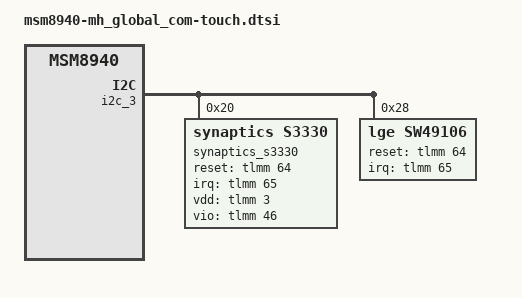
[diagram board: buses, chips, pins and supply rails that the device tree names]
/*
 * Copyright (c) 2016, The Linux Foundation. All rights reserved.
 *
 * This program is free software; you can redistribute it and/or modify
 * it under the terms of the GNU General Public License version 2 and
 * only version 2 as published by the Free Software Foundation.
 *
 * This program is distributed in the hope that it will be useful,
 * but WITHOUT ANY WARRANTY; without even the implied warranty of
 * MERCHANTABILITY or FITNESS FOR A PARTICULAR PURPOSE.  See the
 * GNU General Public License for more details.
 */
&i2c_3 { /* BLSP1 QUP3 */

	status = "okay";
	qcom,clk-freq-out = <400000>;

	synaptics_s3330@20 {
		compatible = "synaptics,s3330";
		status = "ok";

		reg = <0x20>;
		interrupt-parent = <&tlmm>;
		interrupts = <65 0x2008>;

		pinctrl-names = "touch_pin_active","touch_pin_sleep";	/*Touch GPIO pin name setting*/
		pinctrl-0 = <&ts_int_active &ts_reset_active>;		/*Touch GPIO pin active setting*/
		pinctrl-1 = <&ts_int_suspend &ts_reset_suspend>;	/*Touch GPIO pin suspend setting*/

		reset-gpio = <&tlmm 64 0x0>;
		irq-gpio = <&tlmm 65 0x2008>;
		vdd-gpio = <&tlmm 3 0x0>;
		vio-gpio = <&tlmm 46 0x0>;

		irqflags = <0x2002>;

		hw_reset_delay = <80>;
		use_lpwg = <1>;
		hide_coordinate = <1>;

		/*Caps*/
		max_x = <1080>;
		max_y = <1920>;
		max_pressure = <0xff>;
		max_width = <15>;
		max_orientation = <1>;
		max_id = <10>;

		/* Role */
		use_lpwg_test = <1>;

		/* firmware & panel_spec path */
		use_fw_upgrade = <0>;
		fw_image = "touch/mh/synaptics/PLG636-V1.03-PR2528259-DS5.2.20.2.1046_40052183.img";
		panel_spec = "touch/mh/synaptics/lv9_limit.txt";
		panel_spec_mfts_folder = "touch/mh/synaptics/lv9_limit_mfts.txt";
	};

	sw49106@28 {
		compatible = "lge,sw49106";
		status = "okay";

		reg = <0x28>;
		interrupt-parent = <&tlmm>;
		/* IRQF_ONESHOT				0x00002000 */
		/* IRQF_TRIGGER_FALLING		0x00000002 */
		/* IRQF_NO_SUSPEND			0x00004000 */
		interrupts = <65 0x2002>;
		irqflags = <0x2002>;
		reset-gpio = <&tlmm 64 0x00>;
		irq-gpio = <&tlmm 65 0x2002>;

		pinctrl-names = "touch_pin_active","touch_pin_sleep";	/*Touch GPIO pin name setting*/
		pinctrl-0 = <&ts_int_active &ts_reset_active>;		/*Touch GPIO pin active setting*/
		pinctrl-1 = <&ts_int_suspend &ts_reset_suspend>;	/*Touch GPIO pin suspend setting*/

		/* Caps */
		max_x = <1080>;
		max_y = <2160>;
		max_pressure = <0xff>;
		max_width = <15>;
		max_orientation = <1>;
		max_id = <10>;
		hw_reset_delay = <210>;
		sw_reset_delay = <90>;

		/* Role */
		use_lpwg = <1>;
		use_lpwg_test = <1>;
		hide_coordinate = <0>;

		/* firmware */
		use_fw_upgrade = <1>;
		use_firmware = <0>;
		fw_image = "touch/mh/lgsic/L0W55MH2_0_01.img";
		panel_spec = "touch/mh/lgsic/mh_limit.txt";

		/* ASC */
		use_asc = <0>;
		low_delta_thres = <350>;
		high_delta_thres = <600>;
		max_delta_cnt = <2>;
	};
};
